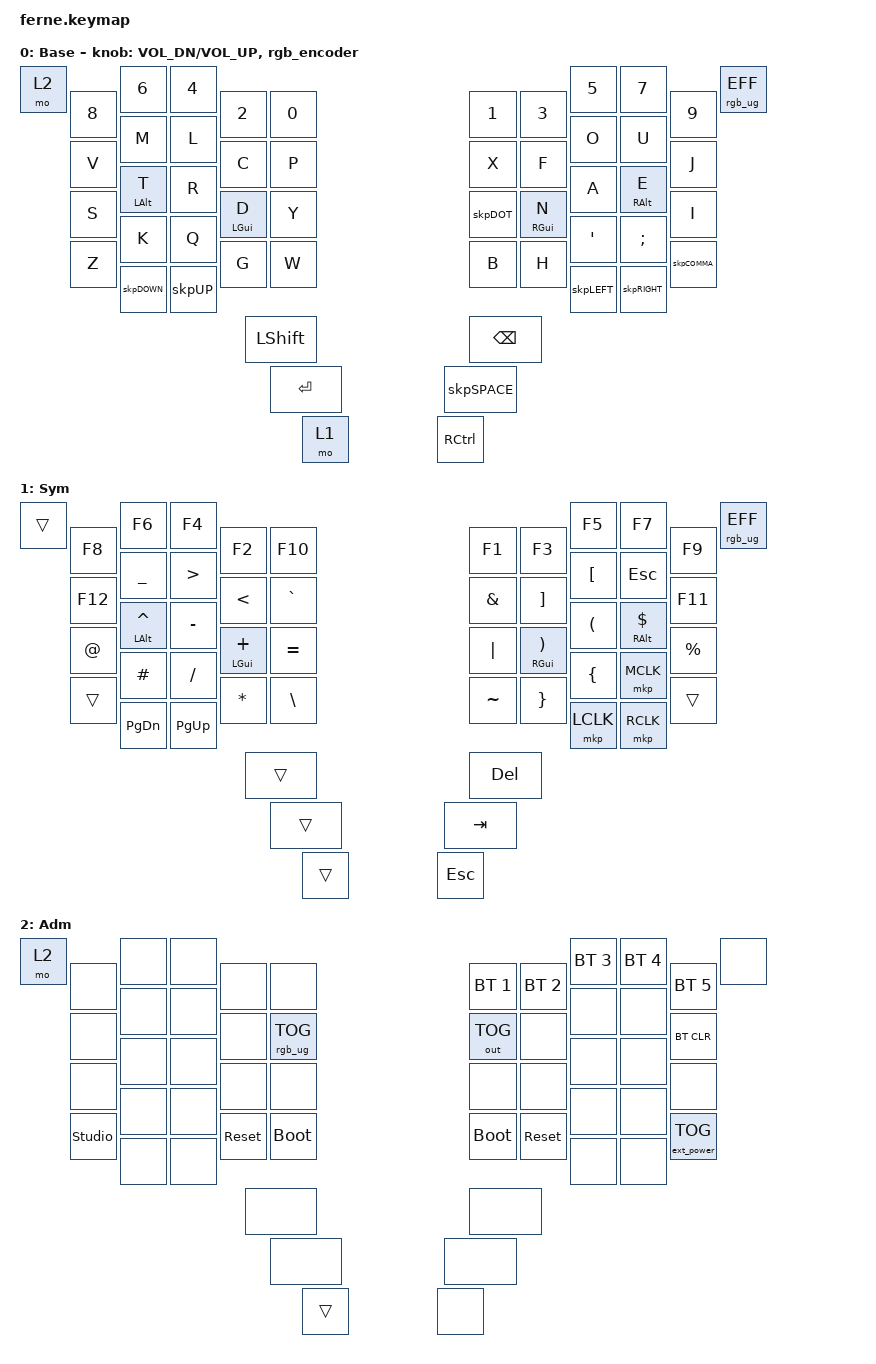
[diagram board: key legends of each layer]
/*
 * Copyright (c) 2020 The ZMK Contributors
 *
 * SPDX-License-Identifier: MIT
 */

#include <behaviors.dtsi>
#include <dt-bindings/zmk/keys.h>
#include <dt-bindings/zmk/bt.h>
#include <dt-bindings/zmk/outputs.h>
#include <dt-bindings/zmk/ext_power.h>
#include <dt-bindings/zmk/rgb.h>
#include <dt-bindings/zmk/pointing.h>

&key_repeat {
    usage-pages = <HID_USAGE_KEY HID_USAGE_CONSUMER>;
};

/ {
	behaviors {
		skpDOT: skpDOT {
			compatible = "zmk,behavior-mod-morph";
			#binding-cells = <0>;
			bindings = <&kp DOT>, <&kp EXCL>;
			mods = <(MOD_LSFT|MOD_RSFT)>;
		};
		skpCOMMA: skpCOMMA {
			compatible = "zmk,behavior-mod-morph";
			#binding-cells = <0>;
			bindings = <&kp COMMA>, <&kp QMARK>;
			mods = <(MOD_LSFT|MOD_RSFT)>;
		};
		skpDOWN: skpDOWN {
			compatible = "zmk,behavior-mod-morph";
			#binding-cells = <0>;
			bindings = <&kp DOWN >, <&kp PG_DN>;
			mods = <(MOD_LSFT|MOD_RSFT)>;
		};  
		skpUP: skpUP {
			compatible = "zmk,behavior-mod-morph";
			#binding-cells = <0>;
			bindings = <&kp UP >, <&kp PG_UP>;
			mods = <(MOD_LSFT|MOD_RSFT)>;
		};
		skpLEFT: skpLEFT {
			compatible = "zmk,behavior-mod-morph";
			#binding-cells = <0>;
			bindings = <&kp LEFT>, <&kp HOME>;
			mods = <(MOD_LSFT|MOD_RSFT)>;
		};  
		skpRIGHT: skpRIGHT {
			compatible = "zmk,behavior-mod-morph";
			#binding-cells = <0>;
			bindings = <&kp RIGHT>, <&kp END>;
			mods = <(MOD_LSFT|MOD_RSFT)>;
		};
		skpSPACE: skpSPACE {
			compatible = "zmk,behavior-mod-morph";
			#binding-cells = <0>;
			bindings = <&kp SPACE>, <&kp TAB>;
			mods = <(MOD_LSFT|MOD_RSFT)>;
			keep-mods = <(MOD_LSFT|MOD_RSFT)>;
		};
		
		hm: homerow_mods {
			compatible = "zmk,behavior-hold-tap";
			#binding-cells = <2>;
			flavor = "tap-preferred";
			tapping-term-ms = <400>;
			quick-tap-ms = <200>;
			require-prior-idle-ms = <300>;
			bindings = <&kp>, <&kp>;
		};
		rgb_encoder: rgb_encoder {
			compatible = "zmk,behavior-sensor-rotate";
			#sensor-binding-cells = <0>;
			bindings = <&rgb_ug RGB_BRI>, <&rgb_ug RGB_BRD>;
		};
	};

	keymap {
		compatible = "zmk,keymap";
		default_layer {
			display-name = "Base";
			bindings = <
			&mo 2                                                                                                      &rgb_ug RGB_EFF
				&kp N8  &kp N6     &kp N4     &kp N2       &kp N0                  &kp N1   &kp N3       &kp N5       &kp N7       &kp N9
				&kp V   &kp M      &kp L      &kp C        &kp P                   &kp X    &kp F        &kp O        &kp U        &kp J 
				&kp S   &hm LALT T &kp R      &hm LGUI D   &kp Y                   &skpDOT  &hm RGUI N   &kp A        &hm RALT E   &kp I 
				&kp Z   &kp K      &kp Q      &kp G        &kp W                   &kp B    &kp H        &kp APOS     &kp SEMI     &skpCOMMA
						&skpDOWN   &skpUP                                                                &skpLEFT     &skpRIGHT
											&kp LSHFT                                       &kp BSPC
												&kp RET                            &skpSPACE
													&mo 1                    &kp RCTRL
			>;
			sensor-bindings = <&inc_dec_kp C_VOL_DN C_VOL_UP &rgb_encoder>;
		};

		sym_layer {
			display-name = "Sym";
			bindings = <
			&trans                                                                                                                       &rgb_ug RGB_EFF
				&kp F8  &kp F6         &kp F4     &kp F2        &kp F10                 &kp F1     &kp F3        &kp F5    &kp F7        &kp F9
				&kp F12 &kp UNDER      &kp GT     &kp LT        &kp GRAVE               &kp AMPS   &kp RBKT      &kp LBKT  &kp ESC       &kp F11 
				&kp AT  &hm LALT CARET &kp MINUS  &hm LGUI PLUS &kp EQUAL               &kp PIPE   &hm RGUI RPAR &kp LPAR  &hm RALT DLLR &kp PRCNT 
				&trans  &kp HASH       &kp SLASH  &kp STAR      &kp BACKSLASH           &kp TILDE  &kp RBRC      &kp LBRC  &mkp MCLK     &trans
						&kp PG_DN      &kp PG_UP                                                                 &mkp LCLK &mkp RCLK
											  &trans                                             &kp DEL
													&trans                                 &kp TAB
														&trans                        &kp ESC
			>;
        };

        adm_layer {
			display-name = "Adm";
			bindings = <
			&mo 2                                                                                                                                    &none
				&none   &none   &none  &none       &none                  &bt BT_SEL 1  &bt BT_SEL 2    &bt BT_SEL 3    &bt BT_SEL 4     &bt BT_SEL 5
				&none   &none   &none  &none       &rgb_ug RGB_TOG        &out OUT_TOG  &none           &none           &none            &bt BT_CLR
				&none   &none   &none  &none       &none                  &none         &none           &none           &none            &none
		&studio_unlock  &none   &none  &sys_reset  &bootloader            &bootloader   &sys_reset      &none           &none            &ext_power EP_TOG
						&none   &none                                                   &none           &none
											  &none                                  &none
													&none                      &none
														&trans             &none
			>;
        };
	};
};
